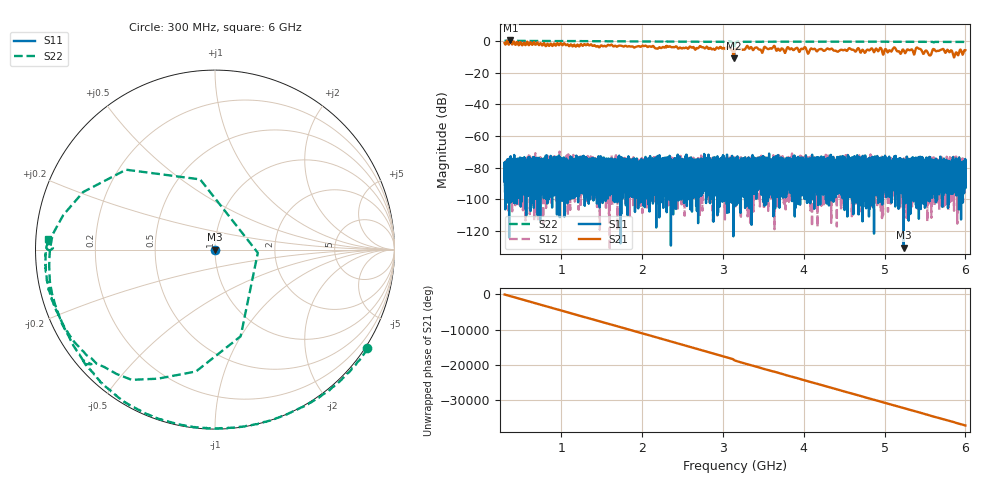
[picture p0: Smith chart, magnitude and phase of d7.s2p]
!Agilent Technologies,N5230C,SG49000117,A.08.50.07
!Agilent N5230C: A.08.50.07
!Date: Sunday, March 17, 2024 08:45:19
!Correction: S11(Off)
!S21(Off)
!S12(Off)
!S22(Full 1 Port(2))
!S2P File: Measurements: S11, S21, S12, S22:
# Hz S  RI  R 50
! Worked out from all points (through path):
!   20001 points, 300 MHz to 6 GHz, reference 50 ohm
!   highest |S21| = 0.34 dB at 372.1 MHz (marker M1); lowest = -11.0 dB at 3.132 GHz (marker M2)
!   lowest |S11| = -130.6 dB at 5.237 GHz (marker M3), VSWR 1.00, Z = 50 - j2.93e-05 ohm
!   |S11| at or under -10 dB: start of sweep to end of sweep
!   |S22| runs from -12.9 to 0.1 dB; largest |S21 - S12| = 1
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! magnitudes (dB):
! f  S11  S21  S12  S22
! 300 MHz  -81.2  -1.2  -83.5  0.1
! 372.1 MHz  -89.9  0.3  -83.4  0.1
! 1.25 GHz  -84.5  -2.2  -83.7  -0.1
! 2.2 GHz  -85.1  -4.5  -76.4  -0.3
! 3.067 GHz  -77.0  -4.1  -106.7  -0.5
! 3.132 GHz  -82.5  -11.0  -84.2  -4.9
! 3.15 GHz  -87.1  -5.3  -81.5  -1.9
! 3.181 GHz  -83.5  -4.4  -86.0  -0.6
! 3.317 GHz  -75.4  -4.3  -73.4  -0.5
! 3.472 GHz  -78.2  -5.9  -78.5  -0.5
! 3.621 GHz  -83.9  -3.8  -77.6  -0.5
! 3.761 GHz  -82.9  -6.9  -81.9  -0.4
! 4.1 GHz  -77.6  -4.8  -85.8  -0.4
! 5.05 GHz  -80.1  -6.5  -89.9  -0.5
! 5.121 GHz  -78.0  -4.1  -81.3  -0.5
! 5.237 GHz  -130.6  -5.9  -84.8  -0.5
! 5.416 GHz  -77.5  -4.6  -82.1  -0.5
! 5.558 GHz  -91.4  -9.1  -83.6  -0.5
! 5.611 GHz  -82.0  -5.3  -81.4  -0.8
! 5.71 GHz  -80.6  -5.3  -77.3  -0.6
! 5.878 GHz  -87.0  -7.7  -86.2  -0.6
! 6 GHz  -77.2  -5.8  -81.5  -0.6
